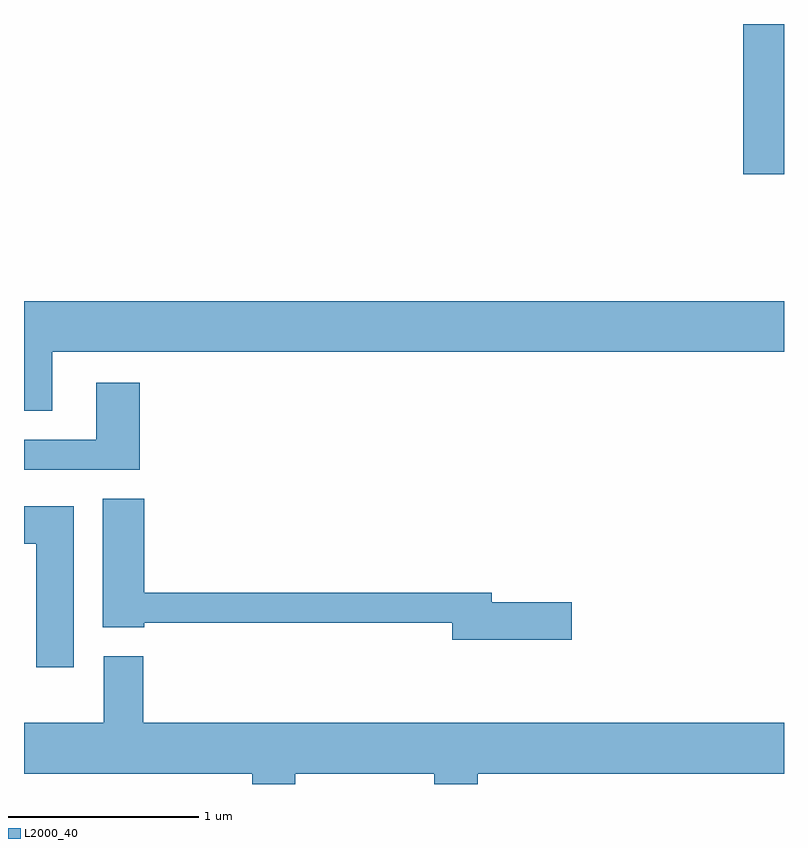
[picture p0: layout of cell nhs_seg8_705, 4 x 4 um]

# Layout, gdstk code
import gdstk
lib = gdstk.Library(unit=1e-6, precision=1e-09)
def R(c, l, rs):  # rectangles x0, y0, x1, y1
    for r in rs: c.add(gdstk.rectangle(r[:2], r[2:], *l))
def P(c, l, *ps):  # polygons
    for p in ps: c.add(gdstk.Polygon(p, *l))
L2000_40 = (2000, 40)

nhs_seg8_705 = lib.new_cell('nhs_seg8_705')
R(nhs_seg8_705, L2000_40, [(209.396,1859.551,209.611,1860.342)])
P(nhs_seg8_705, L2000_40, [(205.759,1858.616),(209.611,1858.616),(209.611,1858.884),(205.611,1858.884),(205.611,1858.306),(205.759,1858.306)],
  [(206.219,1858.454),(205.991,1858.454),(205.991,1858.154),(205.611,1858.154),(205.611,1857.996),(206.219,1857.996)],
  [(208.494,1857.299),(208.074,1857.299),(208.074,1857.349),(206.244,1857.349),(206.244,1857.844),(206.026,1857.844),(206.026,1857.166),(206.244,1857.166),(206.244,1857.191),(207.866,1857.191),(207.866,1857.101),(208.494,1857.101)],
  [(205.874,1857.804),(205.611,1857.804),(205.611,1857.606),(205.676,1857.606),(205.676,1856.956),(205.874,1856.956)],
  [(207.039,1856.396),(207.771,1856.396),(207.771,1856.342),(207.999,1856.342),(207.999,1856.396),(209.611,1856.396),(209.611,1856.664),(206.239,1856.664),(206.239,1857.014),(206.031,1857.014),(206.031,1856.664),(205.611,1856.664),(205.611,1856.396),(206.811,1856.396),(206.811,1856.342),(207.039,1856.342)])

lib.write_gds('nhs_seg8_705.gds')
